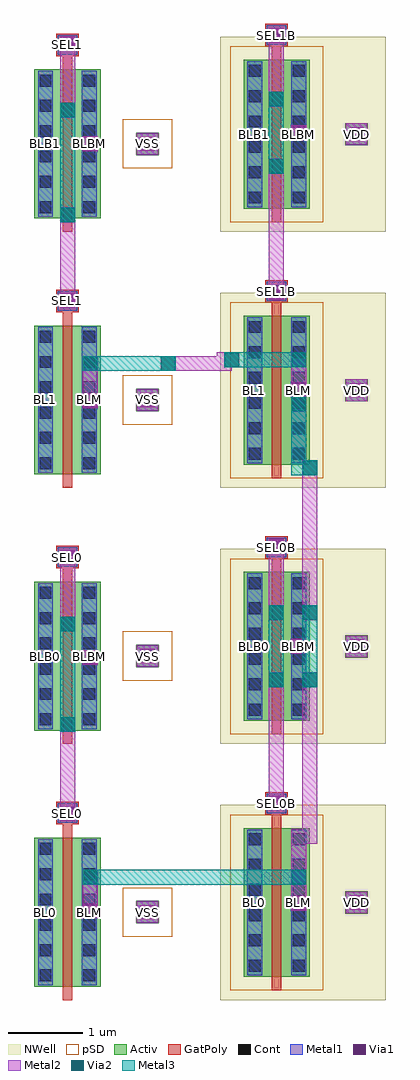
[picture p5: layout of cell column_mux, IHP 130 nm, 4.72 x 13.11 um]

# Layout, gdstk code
import gdstk
lib = gdstk.Library(unit=1e-6, precision=1e-09)
def R(c, l, rs):  # rectangles x0, y0, x1, y1
    for r in rs: c.add(gdstk.rectangle(r[:2], r[2:], *l))
def A(c, l, x, y, w, h, nx, ny, dx, dy):  # array of equal rectangles
    R(c, l, [(x+i*dx, y+j*dy, x+i*dx+w, y+j*dy+h) for i in range(nx) for j in range(ny)])
Activ = (1, 0)
GatPoly = (5, 0)
Cont = (6, 0)
Metal1 = (8, 0)
Metal2 = (10, 0)
pSD = (14, 0)
Via1 = (19, 0)
Via2 = (29, 0)
Metal3 = (30, 0)
NWell = (31, 0)

sg13_lv_nmos_w2_l0p13 = lib.new_cell('sg13_lv_nmos_w2_l0p13')
R(sg13_lv_nmos_w2_l0p13, Activ, [(0,0,0.89,2), (1.37,0.85,1.67,1.15)])
R(sg13_lv_nmos_w2_l0p13, GatPoly, [(0.38,-0.18,0.51,2.2), (0.295,2.18,0.595,2.48)])
A(sg13_lv_nmos_w2_l0p13, Cont, 0.07, 0.07, 0.16, 0.16, 1, 6, 0, 0.34)
A(sg13_lv_nmos_w2_l0p13, Cont, 0.66, 0.07, 0.16, 0.16, 1, 6, 0, 0.34)
R(sg13_lv_nmos_w2_l0p13, Cont, [(1.44,0.92,1.6,1.08), (0.365,2.25,0.525,2.41)])
R(sg13_lv_nmos_w2_l0p13, Metal1, [(0.05,0.02,0.25,1.98), (0.64,0.02,0.84,1.98), (1.375,0.855,1.665,1.145), (0.315,2.2,0.575,2.46)])
R(sg13_lv_nmos_w2_l0p13, Metal2, [(1.375,0.855,1.665,1.145)])
R(sg13_lv_nmos_w2_l0p13, pSD, [(1.19,0.67,1.85,1.33)])
R(sg13_lv_nmos_w2_l0p13, Via1, [(1.425,0.905,1.615,1.095)])

sg13_lv_pmos_w2_l0p13 = lib.new_cell('sg13_lv_pmos_w2_l0p13')
R(sg13_lv_pmos_w2_l0p13, Activ, [(0,0,0.89,2), (1.37,0.85,1.67,1.15)])
R(sg13_lv_pmos_w2_l0p13, GatPoly, [(0.38,-0.18,0.51,2.2), (0.295,2.18,0.595,2.48)])
A(sg13_lv_pmos_w2_l0p13, Cont, 0.07, 0.07, 0.16, 0.16, 1, 6, 0, 0.34)
A(sg13_lv_pmos_w2_l0p13, Cont, 0.66, 0.07, 0.16, 0.16, 1, 6, 0, 0.34)
R(sg13_lv_pmos_w2_l0p13, Cont, [(1.44,0.92,1.6,1.08), (0.365,2.25,0.525,2.41)])
R(sg13_lv_pmos_w2_l0p13, Metal1, [(0.05,0.02,0.25,1.98), (0.64,0.02,0.84,1.98), (1.375,0.855,1.665,1.145), (0.315,2.2,0.575,2.46)])
R(sg13_lv_pmos_w2_l0p13, Metal2, [(1.375,0.855,1.665,1.145)])
R(sg13_lv_pmos_w2_l0p13, pSD, [(-0.18,-0.18,1.07,2.18)])
R(sg13_lv_pmos_w2_l0p13, Via1, [(1.425,0.905,1.615,1.095)])
R(sg13_lv_pmos_w2_l0p13, NWell, [(-0.31,-0.31,1.91,2.31)])

column_mux = lib.new_cell('column_mux')
A(column_mux, Metal1, 3.445, 1.195, 0.21, 0.21, 1, 4, 0, 3.45)
A(column_mux, Metal1, 0.345, 2.395, 0.21, 0.21, 1, 4, 0, 3.45)
A(column_mux, Metal1, 0.645, 4.495, 0.21, 0.21, 1, 3, 0, 3.45)
R(column_mux, Metal1, [(0.645,1.095,0.855,1.305), (3.145,2.545,3.355,2.755), (3.145,5.995,3.355,6.205), (3.145,9.395,3.355,9.605), (3.145,12.845,3.355,13.055)])
A(column_mux, Metal2, 3.15, 4.2, 0.2, 0.2, 1, 3, 0, 0.9)
R(column_mux, Metal2, [(0.65,1.1,0.85,1.3), (0.65,1.1,0.85,1.75), (3.45,1.2,3.65,1.4), (3.45,1.2,3.65,1.75), (0.65,1.55,0.85,1.75), (3.45,1.55,3.65,1.75), (3.45,1.55,3.65,2.3), (3.45,2.1,3.8,2.3), (3.6,2.1,3.8,4.4), (0.35,2.4,0.55,2.6), (0.35,2.4,0.55,3.8), (3.15,2.55,3.35,2.75), (3.15,2.55,3.35,4.4), (0.35,3.6,0.55,3.8), (3.6,4.2,3.8,4.4), (0.65,4.5,0.85,4.7), (3.45,4.65,3.65,4.85), (0.35,4.95,0.55,5.15), (0.35,4.95,0.55,6.05), (3.15,5.1,3.35,6.2), (3.6,5.1,3.8,5.3), (3.6,5.1,3.8,7.25), (0.35,5.85,0.55,6.05), (3.6,7.05,3.8,7.25), (3.45,7.9,3.65,8.1), (3.45,7.9,3.65,8.7), (0.65,7.95,0.85,8.15), (0.65,7.95,0.85,8.65), (3.45,8.1,3.65,8.3), (0.65,8.45,0.85,8.65), (1.7,8.45,1.9,8.65), (1.7,8.45,2.65,8.65), (2.45,8.45,2.65,8.7), (2.45,8.5,2.75,8.7), (2.55,8.5,2.75,8.7), (3.45,8.5,3.65,8.7), (0.35,9.3,0.55,9.5), (0.35,9.3,0.55,10.65), (3.15,9.4,3.35,9.6), (3.15,9.4,3.35,11.3), (0.35,10.45,0.55,10.65), (3.15,11.1,3.35,11.3), (0.65,11.4,0.85,11.6), (3.45,11.55,3.65,11.75), (0.35,11.85,0.55,12.05), (0.35,11.85,0.55,12.95), (3.15,12,3.35,12.2), (3.15,12,3.35,13.05), (0.35,12.75,0.55,12.95), (3.15,12.85,3.35,13.05)])
A(column_mux, Via1, 3.455, 1.205, 0.19, 0.19, 1, 4, 0, 3.45)
A(column_mux, Via1, 0.355, 2.405, 0.19, 0.19, 1, 4, 0, 3.45)
A(column_mux, Via1, 0.655, 4.505, 0.19, 0.19, 1, 3, 0, 3.45)
R(column_mux, Via1, [(0.655,1.105,0.845,1.295), (3.155,2.555,3.345,2.745), (3.155,6.005,3.345,6.195), (3.155,9.405,3.345,9.595), (3.155,12.855,3.345,13.045)])
R(column_mux, Via2, [(0.655,1.555,0.845,1.745), (3.455,1.555,3.645,1.745), (0.355,3.605,0.545,3.795), (3.155,4.205,3.345,4.395), (3.605,4.205,3.795,4.395), (0.355,4.955,0.545,5.145), (3.155,5.105,3.345,5.295), (3.605,5.105,3.795,5.295), (3.605,7.055,3.795,7.245), (3.455,7.905,3.645,8.095), (0.655,8.455,0.845,8.645), (1.705,8.455,1.895,8.645), (2.555,8.505,2.745,8.695), (3.455,8.505,3.645,8.695), (0.355,10.455,0.545,10.645), (3.155,11.105,3.345,11.295), (0.355,11.855,0.545,12.045), (3.155,12.005,3.345,12.195)])
R(column_mux, Metal3, [(0.65,1.55,0.85,1.75), (0.65,1.55,3.65,1.75), (3.45,1.55,3.65,1.75), (0.35,3.6,0.55,3.8), (0.35,3.6,0.55,5.15), (3.15,4.2,3.35,4.4), (3.15,4.2,3.35,5.3), (3.6,4.2,3.8,4.4), (3.6,4.2,3.8,5.3), (0.35,4.95,0.55,5.15), (3.15,5.1,3.35,5.3), (3.6,5.1,3.8,5.3), (3.45,7.05,3.8,7.25), (3.45,7.05,3.65,8.1), (3.6,7.05,3.8,7.25), (3.45,7.9,3.65,8.1), (0.65,8.45,0.85,8.65), (0.65,8.45,1.9,8.65), (1.7,8.45,1.9,8.65), (2.55,8.5,2.75,8.7), (2.55,8.5,3.65,8.7), (3.45,8.5,3.65,8.7), (0.35,10.45,0.55,10.65), (0.35,10.45,0.55,12.05), (3.15,11.1,3.35,11.3), (3.15,11.1,3.35,12.2), (0.35,11.85,0.55,12.05), (3.15,12,3.35,12.2)])
column_mux.add(gdstk.Reference(sg13_lv_nmos_w2_l0p13, (0,0.18)))
column_mux.add(gdstk.Reference(sg13_lv_pmos_w2_l0p13, (2.81,0.31)))
column_mux.add(gdstk.Reference(sg13_lv_nmos_w2_l0p13, (0,3.62)))
column_mux.add(gdstk.Reference(sg13_lv_pmos_w2_l0p13, (2.81,3.75)))
column_mux.add(gdstk.Reference(sg13_lv_nmos_w2_l0p13, (0,7.06)))
column_mux.add(gdstk.Reference(sg13_lv_pmos_w2_l0p13, (2.81,7.19)))
column_mux.add(gdstk.Reference(sg13_lv_nmos_w2_l0p13, (0,10.5)))
column_mux.add(gdstk.Reference(sg13_lv_pmos_w2_l0p13, (2.81,10.63)))
column_mux.add(gdstk.Label('BL0', (0.15,1.18), layer=8, texttype=25))
column_mux.add(gdstk.Label('SEL0', (0.445,2.51), layer=8, texttype=25))
column_mux.add(gdstk.Label('BLM', (0.74,1.18), layer=8, texttype=25))
column_mux.add(gdstk.Label('VSS', (1.52,1.18), layer=8, texttype=25))
column_mux.add(gdstk.Label('BL0', (2.96,1.31), layer=8, texttype=25))
column_mux.add(gdstk.Label('SEL0B', (3.255,2.64), layer=8, texttype=25))
column_mux.add(gdstk.Label('BLM', (3.55,1.31), layer=8, texttype=25))
column_mux.add(gdstk.Label('VDD', (4.33,1.31), layer=8, texttype=25))
column_mux.add(gdstk.Label('BLB0', (0.15,4.62), layer=8, texttype=25))
column_mux.add(gdstk.Label('SEL0', (0.445,5.95), layer=8, texttype=25))
column_mux.add(gdstk.Label('BLBM', (0.74,4.62), layer=8, texttype=25))
column_mux.add(gdstk.Label('VSS', (1.52,4.62), layer=8, texttype=25))
column_mux.add(gdstk.Label('BLB0', (2.96,4.75), layer=8, texttype=25))
column_mux.add(gdstk.Label('SEL0B', (3.255,6.08), layer=8, texttype=25))
column_mux.add(gdstk.Label('BLBM', (3.55,4.75), layer=8, texttype=25))
column_mux.add(gdstk.Label('VDD', (4.33,4.75), layer=8, texttype=25))
column_mux.add(gdstk.Label('BL1', (0.15,8.06), layer=8, texttype=25))
column_mux.add(gdstk.Label('SEL1', (0.445,9.39), layer=8, texttype=25))
column_mux.add(gdstk.Label('BLM', (0.74,8.06), layer=8, texttype=25))
column_mux.add(gdstk.Label('VSS', (1.52,8.06), layer=8, texttype=25))
column_mux.add(gdstk.Label('BL1', (2.96,8.19), layer=8, texttype=25))
column_mux.add(gdstk.Label('SEL1B', (3.255,9.52), layer=8, texttype=25))
column_mux.add(gdstk.Label('BLM', (3.55,8.19), layer=8, texttype=25))
column_mux.add(gdstk.Label('VDD', (4.33,8.19), layer=8, texttype=25))
column_mux.add(gdstk.Label('BLB1', (0.15,11.5), layer=8, texttype=25))
column_mux.add(gdstk.Label('SEL1', (0.445,12.83), layer=8, texttype=25))
column_mux.add(gdstk.Label('BLBM', (0.74,11.5), layer=8, texttype=25))
column_mux.add(gdstk.Label('VSS', (1.52,11.5), layer=8, texttype=25))
column_mux.add(gdstk.Label('BLB1', (2.96,11.63), layer=8, texttype=25))
column_mux.add(gdstk.Label('SEL1B', (3.255,12.96), layer=8, texttype=25))
column_mux.add(gdstk.Label('BLBM', (3.55,11.63), layer=8, texttype=25))
column_mux.add(gdstk.Label('VDD', (4.33,11.63), layer=8, texttype=25))

lib.write_gds('column_mux.gds')
